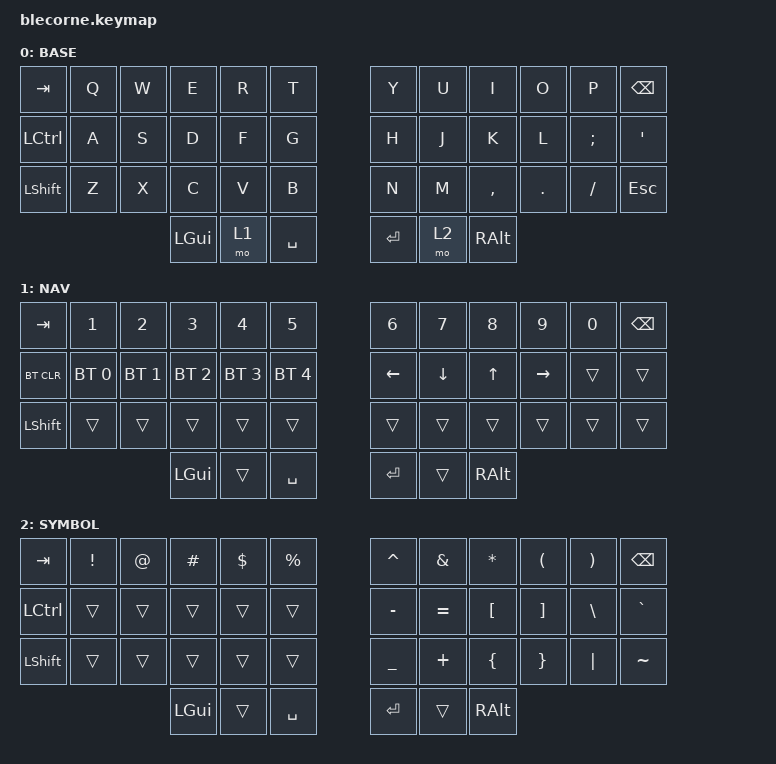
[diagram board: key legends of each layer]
/*
 * Copyright (c) 2020 The ZMK Contributors
 * SPDX-License-Identifier: MIT
 */

#include <behaviors.dtsi>
#include <dt-bindings/zmk/keys.h>
#include <dt-bindings/zmk/bt.h>

/ {
    chosen {
        zmk,physical-layout = &foostan_corne_6col_layout;
    };
};

&soft_off { hold-time-ms = <2000>; };

/ {
    keymap {
        compatible = "zmk,keymap";

        default_layer {
          display-name = "BASE";

            bindings = <
                &kp TAB   &kp Q &kp W &kp E &kp R &kp T   &kp Y &kp U  &kp I     &kp O   &kp P    &kp BSPC
                &kp LCTRL &kp A &kp S &kp D &kp F &kp G   &kp H &kp J  &kp K     &kp L   &kp SEMI &kp SQT
                &kp LSHFT &kp Z &kp X &kp C &kp V &kp B   &kp N &kp M  &kp COMMA &kp DOT &kp FSLH &kp ESC
                              &kp LGUI &mo 1 &kp SPACE   &kp RET &mo 2 &kp RALT
            >;
        };

        lower_layer {
          display-name = "NAV";

            bindings = <
                &kp TAB    &kp N1       &kp N2       &kp N3       &kp N4       &kp N5         &kp N6   &kp N7   &kp N8 &kp N9    &kp N0 &kp BSPC
                &bt BT_CLR &bt BT_SEL 0 &bt BT_SEL 1 &bt BT_SEL 2 &bt BT_SEL 3 &bt BT_SEL 4   &kp LEFT &kp DOWN &kp UP &kp RIGHT &trans &trans
                &kp LSHFT  &trans       &trans       &trans       &trans       &trans         &trans   &trans   &trans &trans    &trans &trans
                                                &kp LGUI     &trans       &kp SPACE      &kp RET  &trans   &kp RALT
            >;
        };

        raise_layer {
          display-name = "SYMBOL";

            bindings = <
                &kp  TAB  &kp EXCL &kp AT &kp HASH &kp DLLR &kp PRCNT   &kp CARET &kp AMPS  &kp ASTRK &kp LPAR &kp RPAR &kp BSPC
                &kp LCTRL &trans   &trans &trans   &trans   &trans      &kp MINUS &kp EQUAL &kp LBKT  &kp RBKT &kp BSLH &kp GRAVE
                &kp LSHFT &trans   &trans &trans   &trans   &trans      &kp UNDER &kp PLUS  &kp LBRC  &kp RBRC &kp PIPE &kp TILDE
                                         &kp LGUI &trans   &kp SPACE   &kp RET   &trans    &kp RALT
            >;
        };

        function_layer {
          display-name = "FN";
          status = "reserved";
        };

        special_layer {
          display-name = "SPEC";
          status = "reserved";
        };
    };
};
